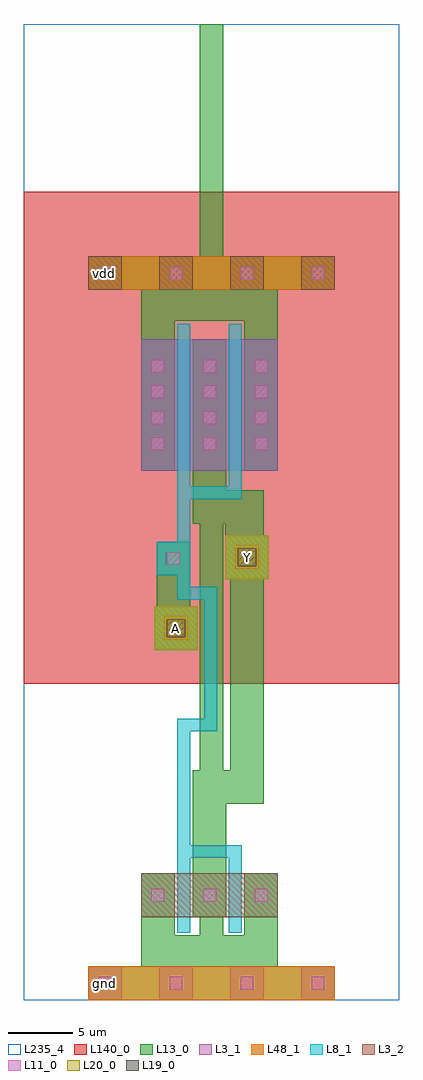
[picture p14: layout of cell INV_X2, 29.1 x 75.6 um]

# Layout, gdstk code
import gdstk
lib = gdstk.Library(unit=1e-6, precision=1e-09)
def R(c, l, rs):  # rectangles x0, y0, x1, y1
    for r in rs: c.add(gdstk.rectangle(r[:2], r[2:], *l))
def A(c, l, x, y, w, h, nx, ny, dx, dy):  # array of equal rectangles
    R(c, l, [(x+i*dx, y+j*dy, x+i*dx+w, y+j*dy+h) for i in range(nx) for j in range(ny)])
def P(c, l, *ps):  # polygons
    for p in ps: c.add(gdstk.Polygon(p, *l))
L3_1 = (3, 1)
L3_2 = (3, 2)
L8_1 = (8, 1)
L11_0 = (11, 0)
L13_0 = (13, 0)
L19_0 = (19, 0)
L20_0 = (20, 0)
L48_1 = (48, 1)
L140_0 = (140, 0)
L235_4 = (235, 4)

inv_x2 = lib.new_cell('INV_X2')
A(inv_x2, L3_1, 5, 0, 2.6, 2.6, 4, 1, 5.5, 0)
R(inv_x2, L3_1, [(9.1,41,19.7,51.2)])
A(inv_x2, L3_2, 5, 55, 2.6, 2.6, 4, 1, 5.5, 0)
R(inv_x2, L3_2, [(9.1,6.4,19.7,9.8)])
P(inv_x2, L8_1, [(11.9,5.2),(11.9,21.8),(14,21.8),(14,31),(11.9,31),(11.9,32.9),(10.3,32.9),(10.3,35.5),(11.9,35.5),(11.9,52.4),(12.9,52.4),(12.9,39.8),(15.9,39.8),(15.9,52.4),(16.9,52.4),(16.9,38.8),(12.9,38.8),(12.9,32),(15,32),(15,20.8),(12.9,20.8),(12.9,12),(16.9,12),(16.9,5.2),(15.9,5.2),(15.9,11),(12.9,11),(12.9,5.2)])
A(inv_x2, L11_0, 5.8, 0.8, 1, 1, 4, 2, 5.5, 55)
A(inv_x2, L11_0, 9.9, 7.6, 1, 1, 3, 2, 4, 35)
A(inv_x2, L11_0, 9.9, 44.6, 1, 1, 3, 3, 4, 2)
R(inv_x2, L11_0, [(11.1,33.7,12.1,34.7)])
P(inv_x2, L13_0, [(10.1,27.1),(10.1,30.5),(10.3,30.5),(10.3,35.5),(12.9,35.5),(12.9,30.5),(13.5,30.5),(13.5,27.1)],
  [(5,0),(5,2.6),(9.1,2.6),(9.1,9.8),(11.7,9.8),(11.7,5),(13.65,5),(13.65,6.4),(13.1,6.4),(13.1,17.8),(13.65,17.8),(13.65,36.9),(15.45,36.9),(15.45,17.8),(16,17.8),(16,32.6),(15.6,32.6),(15.6,36.9),(13.1,36.9),(13.1,51.2),(15.7,51.2),(15.7,39.5),(18.6,39.5),(18.6,36),(19,36),(19,32.6),(18.6,32.6),(18.6,15.2),(15.7,15.2),(15.7,6.4),(15.45,6.4),(15.45,5),(17.1,5),(17.1,9.8),(19.7,9.8),(19.7,2.6),(24.1,2.6),(24.1,0)],
  [(9.1,41),(9.1,55),(5,55),(5,57.6),(13.65,57.6),(13.65,75.6),(15.45,75.6),(15.45,57.6),(24.1,57.6),(24.1,55),(19.7,55),(19.7,41),(17.1,41),(17.1,52.6),(11.7,52.6),(11.7,41)])
R(inv_x2, L19_0, [(11.1,28.1,12.5,29.5), (16.6,33.6,18,35)])
R(inv_x2, L20_0, [(10.1,27.1,13.5,30.5), (15.6,32.6,19,36)])
R(inv_x2, L48_1, [(5,0,24.1,2.6), (10.9,27.9,12.7,29.7), (16.4,33.4,18.2,35.2), (5,55,24.1,57.6)])
R(inv_x2, L140_0, [(0,24.5,29.1,62.6)])
R(inv_x2, L235_4, [(0,0,29.1,75.6)])
inv_x2.add(gdstk.Label('A', (11.8,28.8), layer=48, texttype=0))
inv_x2.add(gdstk.Label('Y', (17.3,34.3), layer=48, texttype=0))
inv_x2.add(gdstk.Label('vdd', (6.3,56.3), layer=48, texttype=0))
inv_x2.add(gdstk.Label('gnd', (6.3,1.3), layer=48, texttype=0))
inv_x2.add(gdstk.Label('A', (11.8,28.8), layer=49, texttype=0))
inv_x2.add(gdstk.Label('Y', (17.3,34.3), layer=49, texttype=0))

lib.write_gds('INV_X2.gds')
